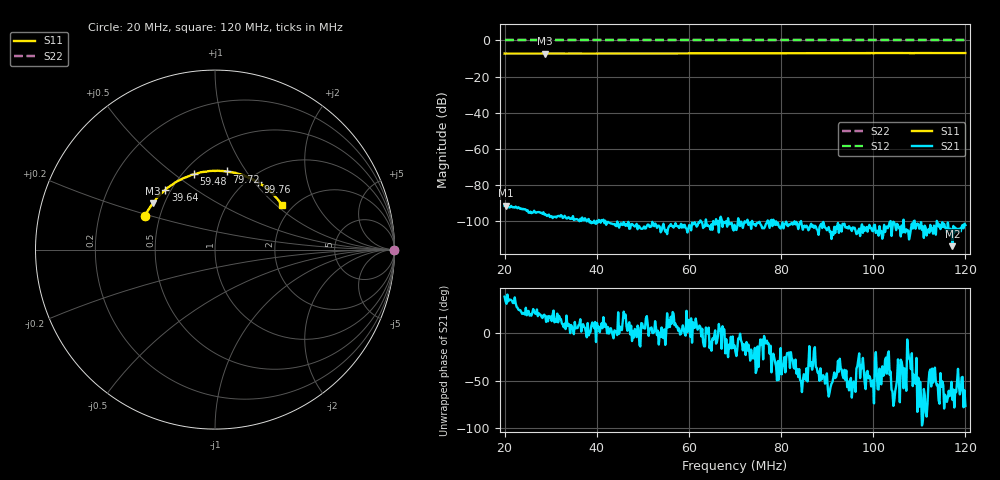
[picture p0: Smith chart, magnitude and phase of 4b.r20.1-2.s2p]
! Anritsu VNA Master:  Model: MS2036C/10/77
! SN:  1601066
! /bd0/18may26.balun/4b.r20.s2p
! Existing Calibration Information:
! TYPE:  Current Settings,  Active Cal Settings
! TIME:  05/26/2018 04:41:35 PM,  05/26/2018 04:28:16 PM
! INTERNAL TEMP:  55.5 C,  56.3 C
! # POINTS:  500,  500
! START FREQ:  20.000 MHz,  20.000 MHz
! STOP FREQ:  120.000 MHz,  120.000 MHz
! SOURCE POWER:  High,  High
! IFBW:  50 Hz,  50 Hz
! AVG FACTOR:  1 ,  1
! REF PLANE 1:  0 mm,  0 mm
! REF PLANE 2:  0 mm,  0 mm
! CAL TYPE:  Full S11,  Full S11
! CAL METHOD:  SOLT,  SOLT
! CAL LINE TYPE:  Coax,  Coax
! DUT PORT 1:  K-Conn(M),  K-Conn(M)
! DUT PORT 2:  K-Conn(M),  K-Conn(M)
! CAL STATUS:  OK: Accuracy High,  --
# GHZ S DB R 50.0
! FREQ.GHZ  S11DB  S11A  S21DB  S21A  S12DB  S12A  S22DB  S22A
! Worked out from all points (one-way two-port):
!   500 points, 20 MHz to 120 MHz, reference 50 ohm
!   highest |S21| = -91.60 dB at 20.2 MHz (marker M1); lowest = -114.1 dB at 117.2 MHz (marker M2)
!   lowest |S11| = -7.3 dB at 28.82 MHz (marker M3), VSWR 2.51, Z = 21.7 + j13.8 ohm
!   |S11| at or under -10 dB: nowhere
!   |S22| runs from 0.0 to 0.0 dB; largest |S21 - S12| = 1
!   S11 on the Smith chart (normalised r, x): 20 MHz: 0.41, +0.19; 39.64 MHz: 0.47, +0.38; 59.48 MHz: 0.57, +0.59; 79.72 MHz: 0.76, +0.82; 99.76 MHz: 1.11, +1.04; 120 MHz: 1.74, +1.09
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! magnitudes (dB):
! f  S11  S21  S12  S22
! 20 MHz  -7.3  -91.7  0.0  0.0
! 20.2 MHz  -7.3  -91.6  0.0  0.0
! 28.82 MHz  -7.3  -96.3  0.0  0.0
! 32.83 MHz  -7.3  -98.1  0.0  0.0
! 36.83 MHz  -7.3  -98.2  0.0  0.0
! 39.64 MHz  -7.3  -101.4  0.0  0.0
! 41.24 MHz  -7.2  -100.1  0.0  0.0
! 45.05 MHz  -7.3  -101.9  0.0  0.0
! 46.65 MHz  -7.2  -102.7  0.0  0.0
! 53.47 MHz  -7.2  -102.7  0.0  0.0
! 59.48 MHz  -7.2  -104.4  0.0  0.0
! 61.28 MHz  -7.2  -100.8  0.0  0.0
! 63.29 MHz  -7.2  -102.9  0.0  0.0
! 66.69 MHz  -7.2  -99.7  0.0  0.0
! 70.1 MHz  -7.2  -104.8  0.0  0.0
! 79.72 MHz  -7.1  -103.9  0.0  0.0
! 86.73 MHz  -7.1  -103.3  0.0  0.0
! 99.76 MHz  -7.0  -105.5  0.0  0.0
! 103.4 MHz  -7.0  -102.8  0.0  0.0
! 105.2 MHz  -7.0  -101.7  0.0  0.0
! 117.2 MHz  -7.0  -114.1  0.0  0.0
! 120 MHz  -7.0  -102.4  0.0  0.0
